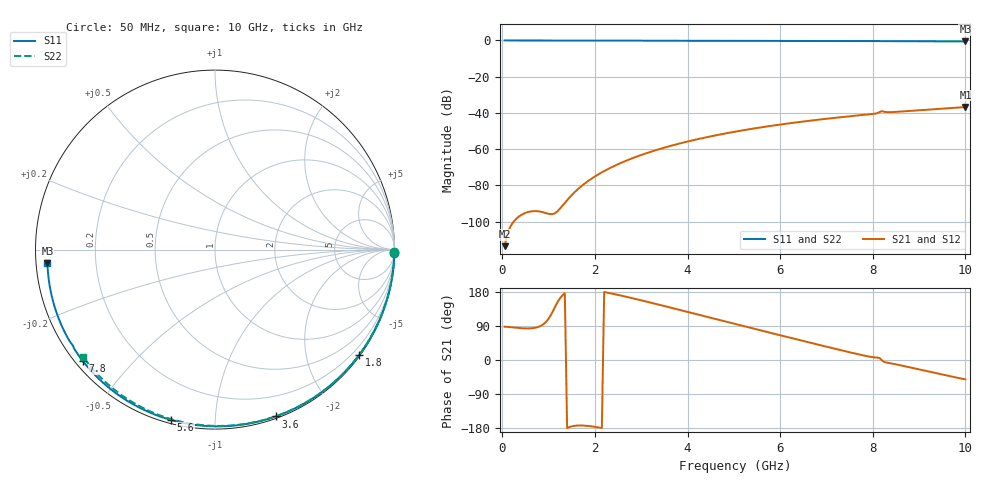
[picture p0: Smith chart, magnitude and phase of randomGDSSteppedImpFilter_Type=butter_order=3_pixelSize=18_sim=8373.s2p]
! freq	dB(S11)	phase(S11)	dB(S12)	phase(S12)
!  dB(S21)	phase(S21)	dB(S22)	phase(S22)
!S-par simulation data
#  GHz  S  DB  R 50
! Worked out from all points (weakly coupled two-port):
!   200 points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, 50 MHz to 10 GHz, reference 50 ohm
!   highest |S21| = -36.77 dB at 10 GHz (marker M1); lowest = -113.6 dB at 50 MHz (marker M2)
!   lowest |S11| = -0.6 dB at 10 GHz (marker M3), VSWR 30.72, Z = 1.63 - j2.07 ohm
!   |S11| at or under -10 dB: nowhere
!   |S22| runs from -0.5 to 0.0 dB; largest |S21 - S12| = 0
!   S11 on the Smith chart (normalised r, x): 50 MHz: open; 1.8 GHz: 0.03, -3.07; 3.6 GHz: 0.02, -1.43; 5.6 GHz: 0.02, -0.77; 7.8 GHz: 0.02, -0.37; 10 GHz: 0.03, -0.04
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0.05  -0.00 -1.0  -113.57 87.8  -113.57 87.8  -0.00 -0.8
0.45  -0.01 -9.2  -95.75 83.6  -95.75 83.6  -0.01 -7.3
0.85  -0.02 -17.3  -94.66 91.3  -94.66 91.3  -0.02 -13.8
1.7  -0.04 -34.2  -80.60 -172.8  -80.60 -172.8  -0.03 -27.3
1.75  -0.04 -35.1  -79.57 -173.1  -79.57 -173.1  -0.04 -28.1
1.8  -0.05 -36.1  -78.59 -173.5  -78.59 -173.5  -0.04 -28.9
2.1  -0.05 -41.9  -73.54 -178.4  -73.54 -178.4  -0.04 -33.6
2.5  -0.06 -49.6  -68.32 171.8  -68.32 171.8  -0.05 -39.8
2.9  -0.07 -57.2  -64.15 160.4  -64.15 160.4  -0.06 -45.9
3.4  -0.09 -66.4  -59.92 145.5  -59.92 145.5  -0.07 -53.4
3.6  -0.09 -70.0  -58.45 139.3  -58.45 139.3  -0.08 -56.4
4.3  -0.12 -82.5  -54.04 117.7  -54.04 117.7  -0.09 -66.6
5.05  -0.15 -95.4  -50.26 94.4  -50.26 94.4  -0.12 -77.2
5.6  -0.17 -104.5  -47.94 77.5  -47.94 77.5  -0.14 -84.8
6.15  -0.20 -113.5  -45.91 60.7  -45.91 60.7  -0.16 -92.2
6.7  -0.24 -122.4  -44.12 44.1  -44.12 44.1  -0.19 -99.4
7.8  -0.33 -139.8  -41.13 12.0  -41.13 12.0  -0.27 -113.6
8.05  -0.35 -143.8  -40.43 6.7  -40.43 6.7  -0.29 -116.7
8.2  -0.40 -146.1  -39.04 -1.3  -39.04 -1.3  -0.30 -118.6
8.35  -0.38 -148.4  -39.60 -7.9  -39.60 -7.9  -0.31 -120.5
9.2  -0.47 -162.1  -38.18 -30.4  -38.18 -30.4  -0.39 -131.1
10  -0.57 -175.3  -36.77 -51.2  -36.77 -51.2  -0.47 -141.0
